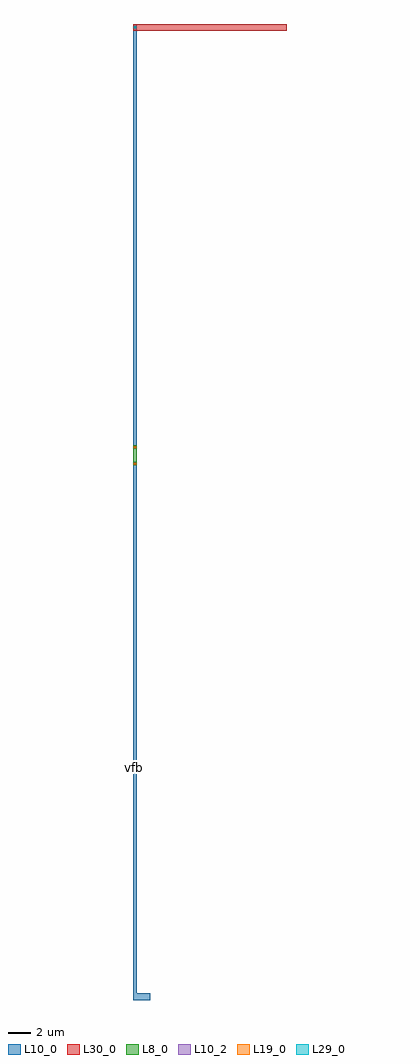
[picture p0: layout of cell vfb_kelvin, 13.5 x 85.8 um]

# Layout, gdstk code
import gdstk
lib = gdstk.Library(unit=1e-6, precision=1e-09)
def R(c, l, rs):  # rectangles x0, y0, x1, y1
    for r in rs: c.add(gdstk.rectangle(r[:2], r[2:], *l))
L8_0 = (8, 0)
L10_0 = (10, 0)
L10_2 = (10, 2)
L19_0 = (19, 0)
L29_0 = (29, 0)
L30_0 = (30, 0)

vfb_kelvin = lib.new_cell('vfb_kelvin')
R(vfb_kelvin, L8_0, [(1.9,86.8,2.2,88.55)])
R(vfb_kelvin, L10_0, [(1.9,39.8,3.4,40.4), (1.9,39.8,2.2,87.1), (1.9,88.25,2.2,125.6)])
R(vfb_kelvin, L10_2, [(1.9,60,2.2,60.5)])
R(vfb_kelvin, L19_0, [(1.955,86.855,2.145,87.045), (1.955,88.305,2.145,88.495)])
R(vfb_kelvin, L29_0, [(1.955,125.205,2.145,125.395)])
R(vfb_kelvin, L30_0, [(1.9,125,15.4,125.6)])
vfb_kelvin.add(gdstk.Label('vfb', (2.05,60.25), layer=10, texttype=25))

lib.write_gds('vfb_kelvin.gds')
